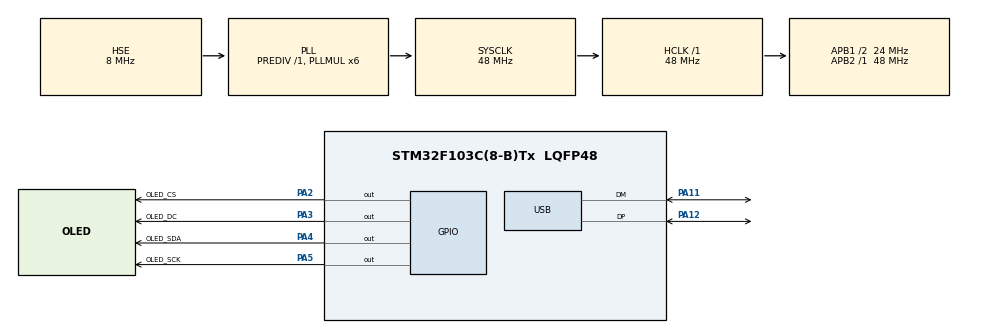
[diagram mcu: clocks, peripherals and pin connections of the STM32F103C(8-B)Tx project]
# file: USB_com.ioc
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Mcu.Family=STM32F1
Mcu.Name=STM32F103C(8-B)Tx
Mcu.Package=LQFP48
NVIC.PriorityGroup=NVIC_PRIORITYGROUP_4
NVIC.USB_HP_CAN1_TX_IRQn=true\:0\:0\:false\:false\:true\:true\:true\:true
NVIC.USB_LP_CAN1_RX0_IRQn=true\:0\:0\:false\:false\:true\:true\:true\:true
PA11.Mode=Device
PA11.Signal=USB_DM
PA12.Mode=Device
PA12.Signal=USB_DP
PA2.GPIO_Label=OLED_CS
PA2.Signal=GPIO_Output
PA3.GPIO_Label=OLED_DC
PA3.Signal=GPIO_Output
PA4.GPIO_Label=OLED_SDA
PA4.Signal=GPIO_Output
PA5.GPIO_Label=OLED_SCK
PA5.Signal=GPIO_Output
PC14-OSC32_IN.Mode=LSE-External-Oscillator
PC14-OSC32_IN.Signal=RCC_OSC32_IN
PC15-OSC32_OUT.Mode=LSE-External-Oscillator
PC15-OSC32_OUT.Signal=RCC_OSC32_OUT
PD0-OSC_IN.Mode=HSE-External-Oscillator
PD0-OSC_IN.Signal=RCC_OSC_IN
PD1-OSC_OUT.Mode=HSE-External-Oscillator
PD1-OSC_OUT.Signal=RCC_OSC_OUT
ProjectManager.HeapSize=0x1000
ProjectManager.StackSize=0x1000
ProjectManager.TargetToolchain=MDK-ARM V5.32
RCC.AHBFreq_Value=48000000
RCC.APB1CLKDivider=RCC_HCLK_DIV2
RCC.APB1Freq_Value=24000000
RCC.APB1TimFreq_Value=48000000
RCC.APB2Freq_Value=48000000
RCC.APB2TimFreq_Value=48000000
RCC.HCLKFreq_Value=48000000
RCC.PLLMUL=RCC_PLL_MUL6
RCC.PLLSourceVirtual=RCC_PLLSOURCE_HSE
RCC.SYSCLKFreq_VALUE=48000000
RCC.SYSCLKSource=RCC_SYSCLKSOURCE_PLLCLK
RCC.USBFreq_Value=48000000
USB_DEVICE.CLASS_NAME_FS=CDC
USB_DEVICE.VirtualMode=Cdc
USB_DEVICE.VirtualModeFS=Cdc_FS
VP_SYS_VS_ND.Mode=No_Debug
VP_USB_DEVICE_VS_USB_DEVICE_CDC_FS.Mode=CDC_FS
board=custom

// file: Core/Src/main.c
/* USER CODE BEGIN Header */
/**
  ******************************************************************************
  * @file           : main.c
  * @brief          : Main program body
  ******************************************************************************
  * @attention
  *
  * Copyright (c) 2024 STMicroelectronics.
  * All rights reserved.
  *
  * This software is licensed under terms that can be found in the LICENSE file
  * in the root directory of this software component.
  * If no LICENSE file comes with this software, it is provided AS-IS.
  *
  ******************************************************************************
  */
/* USER CODE END Header */
#include "main.h"
#include "usb_device.h"
#include "gpio.h"

void SystemClock_Config(void);

/* USER CODE BEGIN 0 */
char txMsg[] = "Hello World";
void USB_Reset(void)
{
  GPIO_InitTypeDef GPIO_InitStruct = {0};
  __HAL_RCC_GPIOA_CLK_ENABLE();
  GPIO_InitStruct.Pin = GPIO_PIN_12;
  GPIO_InitStruct.Mode = GPIO_MODE_OUTPUT_PP;
  GPIO_InitStruct.Pull = GPIO_PULLDOWN;
  GPIO_InitStruct.Speed = GPIO_SPEED_FREQ_LOW;
  HAL_GPIO_Init(GPIOA,&GPIO_InitStruct);
}
/* USER CODE END 0 */

int main(void)
{

  /* MCU Configuration--------------------------------------------------------*/

  /* Reset of all peripherals, Initializes the Flash interface and the Systick. */
  HAL_Init();

  /* Configure the system clock */
  SystemClock_Config();

  /* Initialize all configured peripherals */
  MX_GPIO_Init();
  MX_USB_DEVICE_Init();
  /* USER CODE BEGIN 2 */
  OLED_Init();
  OLED_Clear();
  /* USER CODE END 2 */

  /* Infinite loop */
  while (1)
  {

    /* USER CODE BEGIN 3 */

    CDC_Transmit_FS(txMsg,sizeof(txMsg));
    OLED_Clear();
    OLED_ShowString(0,0,"CAN msg: 1");
    HAL_Delay(5000);
  }
  /* USER CODE END 3 */
}

void SystemClock_Config(void)
{
  RCC_OscInitTypeDef RCC_OscInitStruct = {0};
  RCC_ClkInitTypeDef RCC_ClkInitStruct = {0};
  RCC_PeriphCLKInitTypeDef PeriphClkInit = {0};

  /** Initializes the RCC Oscillators according to the specified parameters
  * in the RCC_OscInitTypeDef structure.
  */
  RCC_OscInitStruct.OscillatorType = RCC_OSCILLATORTYPE_HSE;
  RCC_OscInitStruct.HSEState = RCC_HSE_ON;
  RCC_OscInitStruct.HSEPredivValue = RCC_HSE_PREDIV_DIV1;
  RCC_OscInitStruct.HSIState = RCC_HSI_ON;
  RCC_OscInitStruct.PLL.PLLState = RCC_PLL_ON;
  RCC_OscInitStruct.PLL.PLLSource = RCC_PLLSOURCE_HSE;
  RCC_OscInitStruct.PLL.PLLMUL = RCC_PLL_MUL6;
  if (HAL_RCC_OscConfig(&RCC_OscInitStruct) != HAL_OK)
  {
    Error_Handler();
  }

  /** Initializes the CPU, AHB and APB buses clocks
  */
  RCC_ClkInitStruct.ClockType = RCC_CLOCKTYPE_HCLK|RCC_CLOCKTYPE_SYSCLK
                              |RCC_CLOCKTYPE_PCLK1|RCC_CLOCKTYPE_PCLK2;
  RCC_ClkInitStruct.SYSCLKSource = RCC_SYSCLKSOURCE_PLLCLK;
  RCC_ClkInitStruct.AHBCLKDivider = RCC_SYSCLK_DIV1;
  RCC_ClkInitStruct.APB1CLKDivider = RCC_HCLK_DIV2;
  RCC_ClkInitStruct.APB2CLKDivider = RCC_HCLK_DIV1;

  if (HAL_RCC_ClockConfig(&RCC_ClkInitStruct, FLASH_LATENCY_1) != HAL_OK)
  {
    Error_Handler();
  }
  PeriphClkInit.PeriphClockSelection = RCC_PERIPHCLK_USB;
  PeriphClkInit.UsbClockSelection = RCC_USBCLKSOURCE_PLL;
  if (HAL_RCCEx_PeriphCLKConfig(&PeriphClkInit) != HAL_OK)
  {
    Error_Handler();
  }
}

void Error_Handler(void)
{
  __disable_irq();
  while (1)
  {
  }
}
